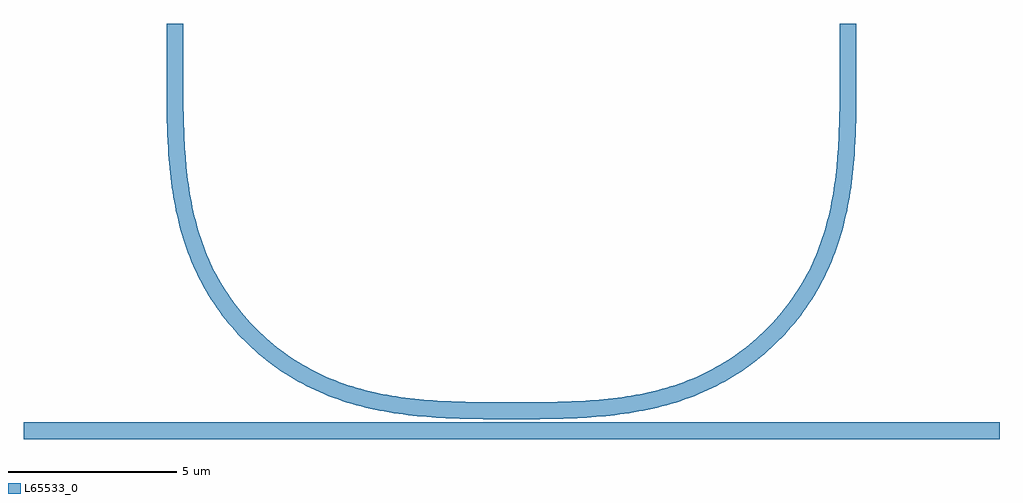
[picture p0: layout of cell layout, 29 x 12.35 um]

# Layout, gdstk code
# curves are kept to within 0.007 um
import gdstk
lib = gdstk.Library(unit=1e-6, precision=1e-09)
def R(c, l, rs):  # rectangles x0, y0, x1, y1
    for r in rs: c.add(gdstk.rectangle(r[:2], r[2:], *l))
def P(c, l, *ps):  # polygons
    for p in ps: c.add(gdstk.Polygon(p, *l))
L65533_0 = (65533, 0)

layout = lib.new_cell('layout')
R(layout, L65533_0, [(-14.5,-0.25,-13,0.25), (-13,-0.25,13,0.25), (13,-0.25,14.5,0.25), (-10.25,10.6,-9.75,12.1), (9.75,10.6,10.25,12.1)])
P(layout, L65533_0, [(-0.416,0.35),(-1.812,0.375),(-2.373,0.406),(-2.935,0.456),(-3.356,0.509),(-3.915,0.603),(-4.332,0.693),(-4.883,0.844),(-5.423,1.033),(-5.819,1.202),(-6.205,1.394),(-6.579,1.608),(-7.056,1.927),(-7.397,2.19),(-7.721,2.473),(-8.029,2.774),(-8.318,3.093),(-8.588,3.429),(-8.916,3.9),(-9.137,4.269),(-9.337,4.651),(-9.567,5.177),(-9.712,5.581),(-9.836,5.991),(-9.939,6.406),(-10.048,6.964),(-10.128,7.525),(-10.171,7.946),(-10.219,8.647),(-10.235,9.068),(-10.25,10.6),(-9.75,10.6),(-9.748,9.77),(-9.731,8.945),(-9.695,8.262),(-9.647,7.719),(-9.576,7.18),(-9.48,6.648),(-9.353,6.123),(-9.194,5.61),(-9.051,5.235),(-8.887,4.869),(-8.701,4.513),(-8.495,4.169),(-8.269,3.838),(-8.024,3.521),(-7.85,3.317),(-7.575,3.025),(-7.182,2.662),(-6.869,2.411),(-6.543,2.178),(-6.203,1.965),(-5.851,1.773),(-5.488,1.601),(-5.116,1.451),(-4.735,1.322),(-4.346,1.212),(-3.952,1.12),(-3.42,1.024),(-2.881,0.953),(-2.338,0.905),(-1.655,0.869),(-0.415,0.85),(1.38,0.861),(1.928,0.881),(2.474,0.915),(2.881,0.953),(3.42,1.024),(3.952,1.12),(4.346,1.212),(4.735,1.322),(5.116,1.451),(5.488,1.601),(5.969,1.835),(6.431,2.105),(6.762,2.331),(7.079,2.576),(7.382,2.84),(7.668,3.121),(7.938,3.418),(8.189,3.731),(8.422,4.057),(8.635,4.397),(8.827,4.749),(8.999,5.112),(9.149,5.484),(9.317,5.994),(9.451,6.516),(9.576,7.18),(9.647,7.719),(9.695,8.262),(9.731,8.945),(9.748,9.77),(9.75,10.6),(10.25,10.6),(10.248,9.766),(10.225,8.788),(10.194,8.227),(10.144,7.665),(10.091,7.244),(9.997,6.685),(9.907,6.268),(9.756,5.717),(9.567,5.177),(9.398,4.781),(9.206,4.395),(8.992,4.021),(8.673,3.544),(8.41,3.203),(8.127,2.879),(7.826,2.571),(7.507,2.282),(7.171,2.012),(6.7,1.684),(6.331,1.463),(5.949,1.263),(5.423,1.033),(5.019,0.888),(4.609,0.764),(4.194,0.661),(3.636,0.552),(3.075,0.472),(2.514,0.417),(1.953,0.381),(1.392,0.361)])

lib.write_gds('layout.gds')
